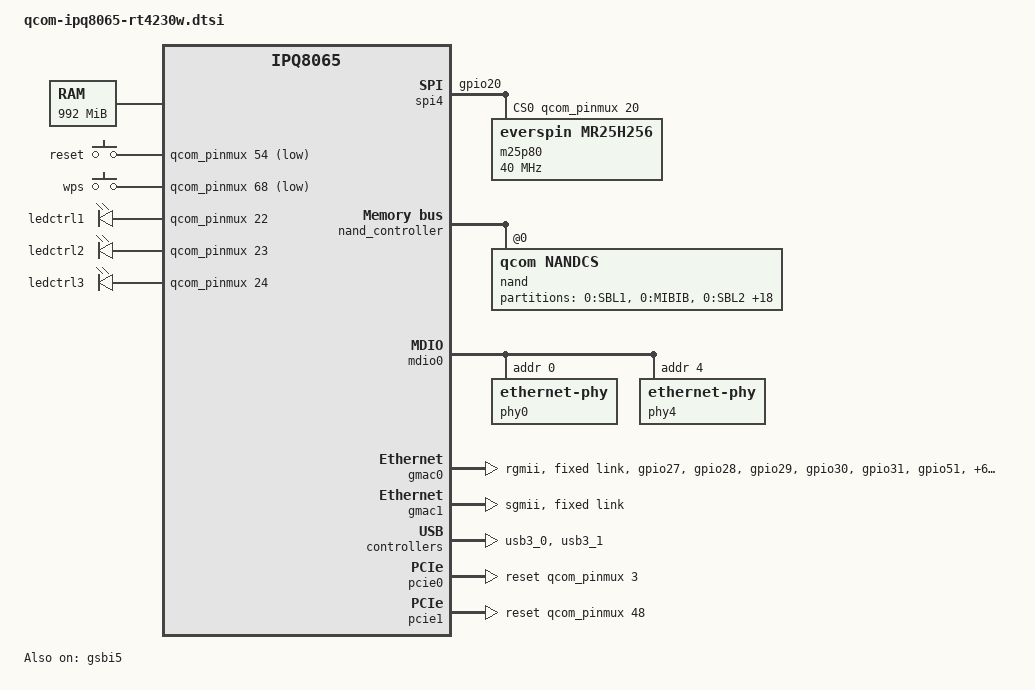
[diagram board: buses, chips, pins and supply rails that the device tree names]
// SPDX-License-Identifier: GPL-2.0-or-later

#include "qcom-ipq8065.dtsi"
#include <dt-bindings/input/input.h>

/ {
	memory@0 {
		reg = <0x42000000 0x3e000000>;
		device_type = "memory";
	};

	aliases {
		led-boot = &ledctrl3;
		led-failsafe = &ledctrl1;
		led-running = &ledctrl2;
		led-upgrade = &ledctrl3;
	};

	chosen {
		bootargs = "rootfstype=squashfs noinitrd";
	};

	keys {
		compatible = "gpio-keys";
		pinctrl-0 = <&button_pins>;
		pinctrl-names = "default";

		reset {
			label = "reset";
			gpios = <&qcom_pinmux 54 GPIO_ACTIVE_LOW>;
			linux,code = <KEY_RESTART>;
		};

		wps {
			label = "wps";
			gpios = <&qcom_pinmux 68 GPIO_ACTIVE_LOW>;
			linux,code = <KEY_WPS_BUTTON>;
		};
	};

	leds {
		compatible = "gpio-leds";
		pinctrl-0 = <&led_pins>;
		pinctrl-names = "default";

		ledctrl1: ledctrl1 {
			label = "ledctrl1";
			gpios = <&qcom_pinmux 22 GPIO_ACTIVE_HIGH>;
		};

		ledctrl2: ledctrl2 {
			label = "ledctrl2";
			gpios = <&qcom_pinmux 23 GPIO_ACTIVE_HIGH>;
		};

		ledctrl3: ledctrl3 {
			label = "ledctrl3";
			gpios = <&qcom_pinmux 24 GPIO_ACTIVE_HIGH>;
		};
	};
};

&qcom_pinmux {
	button_pins: button_pins {
		mux {
			pins = "gpio54", "gpio68";
			function = "gpio";
			drive-strength = <2>;
			bias-pull-up;
		};
	};

	led_pins: led_pins {
		mux {
			pins = "gpio22", "gpio23", "gpio24";
			function = "gpio";
			drive-strength = <2>;
			bias-pull-down;
		};
	};

	rgmii2_pins: rgmii2_pins {
		mux {
			pins = "gpio27", "gpio28", "gpio29", "gpio30", "gpio31",
				"gpio51", "gpio52", "gpio59", "gpio60", "gpio61", "gpio62";
			function = "rgmii2";
			drive-strength = <8>;
			bias-disable;
		};

		tx {
			pins = "gpio27", "gpio28", "gpio29", "gpio30", "gpio31", "gpio32";
			input-disable;
		};
	};

	spi_pins: spi_pins {
		cs {
			pins = "gpio20";
			drive-strength = <12>;
		};
	};
};

&gsbi5 {
	qcom,mode = <GSBI_PROT_SPI>;
	status = "okay";

	spi4: spi@1a280000 {
		status = "okay";

		pinctrl-0 = <&spi_pins>;
		pinctrl-names = "default";

		cs-gpios = <&qcom_pinmux 20 GPIO_ACTIVE_HIGH>;

		m25p80@0 {
			compatible = "everspin,mr25h256";
			#address-cells = <1>;
			#size-cells = <1>;
			spi-max-frequency = <40000000>;
			reg = <0>;
		};
	};
};

&nand_controller {
	status = "okay";

	pinctrl-0 = <&nand_pins>;
	pinctrl-names = "default";

	nand@0 {
		reg = <0>;
		compatible = "qcom,nandcs";

		nand-ecc-strength = <4>;
		nand-bus-width = <8>;
		nand-ecc-step-size = <512>;

		nand-is-boot-medium;
		qcom,boot_pages_size = <0x1180000>;

		partitions {
			compatible = "fixed-partitions";
			#address-cells = <1>;
			#size-cells = <1>;

			partition@0 {
				label = "0:SBL1";
				reg = <0x0000000 0x0040000>;
				read-only;
			};
			partition@40000 {
				label = "0:MIBIB";
				reg = <0x0040000 0x0140000>;
				read-only;
			};
			partition@180000 {
				label = "0:SBL2";
				reg = <0x0180000 0x0140000>;
				read-only;
			};
			partition@2c0000 {
				label = "0:SBL3";
				reg = <0x02c0000 0x0280000>;
				read-only;
			};
			partition@540000 {
				label = "0:DDRCONFIG";
				reg = <0x0540000 0x0120000>;
				read-only;
			};
			partition@660000 {
				label = "0:SSD";
				reg = <0x0660000 0x0120000>;
				read-only;
			};
			partition@780000 {
				label = "0:TZ";
				reg = <0x0780000 0x0280000>;
				read-only;
			};
			partition@a00000 {
				label = "0:RPM";
				reg = <0x0a00000 0x0280000>;
				read-only;
			};
			partition@c80000 {
				label = "0:APPSBL";
				reg = <0x0c80000 0x0500000>;
				read-only;
			};
			partition@1180000 {
				label = "0:APPSBLENV";
				reg = <0x1180000 0x0080000>;
			};
			ART: partition@1200000 {
				label = "0:ART";
				reg = <0x1200000 0x0140000>;
				read-only;
			};
			partition@1340000 {
				label = "0:BOOTCONFIG";
				reg = <0x1340000 0x0060000>;
				read-only;
			};
			partition@13a0000 {
				label = "0:SBL2_1";
				reg = <0x13a0000 0x0140000>;
				read-only;
			};
			partition@14e0000 {
				label = "0:SBL3_1";
				reg = <0x14e0000 0x0280000>;
				read-only;
			};
			partition@1760000 {
				label = "0:DDRCONFIG_1";
				reg = <0x1760000 0x0120000>;
				read-only;
			};
			partition@1880000 {
				label = "0:SSD_1";
				reg = <0x1880000 0x0120000>;
				read-only;
			};
			partition@19a0000 {
				label = "0:TZ_1";
				reg = <0x19a0000 0x0280000>;
				read-only;
			};
			partition@1c20000 {
				label = "0:RPM_1";
				reg = <0x1c20000 0x0280000>;
				read-only;
			};
			partition@1ea0000 {
				label = "0:BOOTCONFIG1";
				reg = <0x1ea0000 0x0060000>;
				read-only;
			};
			partition@1f00000 {
				label = "0:APPSBL_1";
				reg = <0x1f00000 0x0500000>;
				read-only;
			};
			ubi: partition@2400000 {
				label = "ubi";
			};
		};
	};
};

&mdio0 {
	status = "okay";

	pinctrl-0 = <&mdio0_pins>;
	pinctrl-names = "default";

	phy0: ethernet-phy@0 {
		reg = <0x0>;
		qca,ar8327-initvals = <
			0x00004 0x7600000   /* PAD0_MODE */
			0x00008 0x1000000   /* PAD5_MODE */
			0x0000c 0x80        /* PAD6_MODE */
			0x000e4 0xaa545     /* MAC_POWER_SEL */
			0x000e0 0xc74164de  /* SGMII_CTRL */
			0x0007c 0x4e        /* PORT0_STATUS */
			0x00094 0x4e        /* PORT6_STATUS */
			0x00050 0xcf02cf02  /* LED_CTRL_0 */
			0x00054 0xc832c832  /* LED_CTRL_1 */
			>;
	};
	phy4: ethernet-phy@4 {
		reg = <4>;
	};
};

&gmac0 {
	status = "okay";
	compatible = "qcom,nss-gmac";
	reg = <0x37000000 0x200000>;
	interrupts = <GIC_SPI 220 IRQ_TYPE_LEVEL_HIGH>;
	phy-mode = "rgmii";
	qcom,id = <0>;
	qcom,pcs-chanid = <0>;
	qcom,phy-mdio-addr = <0>;
	qcom,poll-required = <0>;
	qcom,rgmii-delay = <1>;
	qcom,phy_mii_type = <0>;
	qcom,emulation = <0>;
	qcom,forced-speed = <1000>;
	qcom,forced-duplex = <1>;
	qcom,socver = <0>;
	qcom,irq = <255>;
	mdiobus = <&mdio0>;

	mtd-mac-address = <&ART 0x0>;

	pinctrl-0 = <&rgmii2_pins>;
	pinctrl-names = "default";

	fixed-link {
		speed = <1000>;
		full-duplex;
	};
};

&gmac1 {
	status = "okay";
	compatible = "qcom,nss-gmac";
	reg = <0x37200000 0x200000>;
	interrupts = <GIC_SPI 223 IRQ_TYPE_LEVEL_HIGH>;
	phy-mode = "sgmii";
	qcom,id = <1>;
	qcom,pcs-chanid = <1>;
	qcom,phy-mdio-addr = <4>;
	qcom,poll-required = <0>;	/* no polling */
	qcom,rgmii-delay = <0>;
	qcom,phy_mii_type = <1>;
	qcom,emulation = <0>;
	qcom,forced-speed = <1000>;
	qcom,forced-duplex = <1>;
	qcom,socver = <0>;
	qcom,irq = <258>;
	mdiobus = <&mdio0>;

	mtd-mac-address = <&ART 0x6>;

	fixed-link {
		speed = <1000>;
		full-duplex;
	};
};

&adm_dma {
	status = "okay";
};

&usb3_0 {
	status = "okay";
	clocks = <&gcc USB30_1_MASTER_CLK>;
};

&usb3_1 {
	status = "okay";
	clocks = <&gcc USB30_0_MASTER_CLK>;
};

&pcie0 {
	status = "okay";
	reset-gpio = <&qcom_pinmux 3 GPIO_ACTIVE_HIGH>;
	pinctrl-0 = <&pcie0_pins>;
	pinctrl-names = "default";
};

&pcie1 {
	status = "okay";
	reset-gpio = <&qcom_pinmux 48 GPIO_ACTIVE_HIGH>;
	pinctrl-0 = <&pcie1_pins>;
	pinctrl-names = "default";
	max-link-speed = <1>;
};
